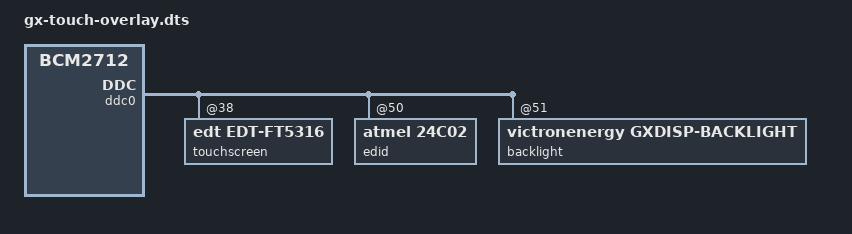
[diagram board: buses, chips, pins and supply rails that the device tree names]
// SPDX-License-Identifier: GPL-2.0
/*
 * Device Tree overlay for the Victron GX Touch on HDMI.
 *
 * The GX Touch carries an EDT FT5x06 compatible touch controller, an EDID
 * EEPROM and the Victron GX display backlight controller on the HDMI DDC
 * bus. Select the HDMI port with the hdmi0 or hdmi1 parameter; hdmi0 is
 * the default.
 *
 * Full KMS (vc4-kms-v3d or vc4-kms-v3d-pi4) must be enabled for the DDC
 * bus to be available.
 */

/dts-v1/;
/plugin/;

/ {
	compatible = "brcm,bcm2711", "brcm,bcm2712";

	frag0: fragment@0 {
		target = <&ddc0>;
		__overlay__ {
			#address-cells = <1>;
			#size-cells = <0>;

			touchscreen@38 {
				compatible = "edt,edt-ft5316", "edt,edt-ft5306";
				reg = <0x38>;
			};

			edid: eeprom@50 {
				compatible = "atmel,24c02";
				reg = <0x50>;
				pagesize = <16>;
				read-only;
			};

			backlight@51 {
				compatible = "victronenergy,gxdisp-backlight";
				reg = <0x51>;
				default-on;
				default-brightness = <15>;
			};
		};
	};

	__overrides__ {
		hdmi0 = <&frag0>, "target:0=", <&ddc0>;
		hdmi1 = <&frag0>, "target:0=", <&ddc1>;
	};
};
